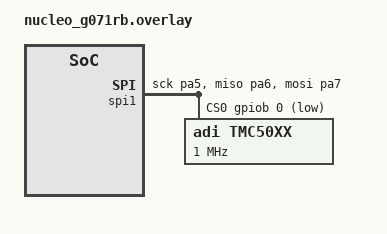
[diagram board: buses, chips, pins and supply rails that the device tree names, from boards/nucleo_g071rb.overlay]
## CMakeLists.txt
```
 # SPDX-FileCopyrightText: Copyright (c) 2025 Jilay Sandeep Pandya
 # SPDX-License-Identifier: Apache-2.0

cmake_minimum_required(VERSION 3.20.0)

find_package(Zephyr REQUIRED HINTS $ENV{ZEPHYR_BASE})
project(stepper_basic)

FILE(GLOB app_sources src/*.c)
target_sources(app PRIVATE ${app_sources})
```

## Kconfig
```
# SPDX-FileCopyrightText: Copyright (c) 2025 Jilay Sandeep Pandya
# SPDX-License-Identifier: Apache-2.0

mainmenu "TMC50XX sample application"

config STEPS_PER_REV
	int "Steps per revolution"
	default 200

config PING_PONG_N_REV
	int "Change direction every N revolutions"
	default 1

source "Kconfig.zephyr"
```

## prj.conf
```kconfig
CONFIG_STEPPER=y
CONFIG_LOG=y
```

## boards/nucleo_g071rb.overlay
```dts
/ {
	aliases {
		stepper = &tmc_stepper;
	};
};

&spi1 {
	pinctrl-0 = <&spi1_sck_pa5 &spi1_miso_pa6 &spi1_mosi_pa7>;
	pinctrl-names = "default";
	cs-gpios = <&gpiob 0 GPIO_ACTIVE_LOW>;
	status = "okay";
	tmc50xx: tmc50xx@0 {
		compatible = "adi,tmc50xx";
		reg = <0>;
		spi-max-frequency = <DT_FREQ_M(1)>; /* Maximum SPI bus frequency */

		#address-cells = <1>;
		#size-cells = <0>;

		clock-frequency = <DT_FREQ_M(10)>; /* Internal/External Clock frequency */

		tmc_stepper: tmc_stepper@0 {
			status = "okay";
			reg = <0>;

			/* common stepper controller settings */
			micro-step-res = <256>;

			/* ADI TMC stallguard settings specific to TMC5041 */
			activate-stallguard2;
			stallguard-velocity-check-interval-ms=<1000>;
			stallguard2-threshold=<30>;
			stallguard-threshold-velocity=<200000>;

			/* ADI TMC ramp generator as well as current settings */
			vstart = <1000>;
			vstop = <10>;
			a1 = <10000>;
			v1 = <50000>;
			d1 = <14000>;
			vmax = <900000>;
			amax = <50000>;
			dmax = <7000>;
			tzerowait = <100>;
			vhigh = <900000>;
			vcoolthrs = <900000>;
			ihold = <1>;
			irun = <10>;
			iholddelay = <1>;
		};
	};
};
```

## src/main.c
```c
/*
 * SPDX-FileCopyrightText: Copyright (c) 2025 Jilay Sandeep Pandya.
 * SPDX-License-Identifier: Apache-2.0
 */

#include <zephyr/device.h>
#include <zephyr/drivers/gpio.h>
#include <zephyr/drivers/stepper.h>
#include <zephyr/kernel.h>

const struct device *stepper = DEVICE_DT_GET(DT_ALIAS(stepper));

int32_t ping_pong_target_position = CONFIG_STEPS_PER_REV * CONFIG_PING_PONG_N_REV *
				    DT_PROP(DT_ALIAS(stepper), micro_step_res);

atomic_t is_position_reached = ATOMIC_INIT(0);

void stepper_callback(const struct device *dev, const enum stepper_event event, void *user_data)
{
	switch (event) {
	case STEPPER_EVENT_STEPS_COMPLETED:
		printf("%s steps completed changing direction\n", __func__);
		ping_pong_target_position *= -1;
		atomic_set(&is_position_reached, 1);
		break;
	default:
		break;
	}
}

int main(void)
{
	printf("Starting basic stepper sample\n");
	if (!device_is_ready(stepper)) {
		printf("Device %s is not ready\n", stepper->name);
		return -ENODEV;
	}
	printf("stepper is %p, name is %s\n", stepper, stepper->name);

	stepper_set_event_callback(stepper, stepper_callback, NULL);
	stepper_enable(stepper, true);
	stepper_set_reference_position(stepper, 0);
	stepper_move_by(stepper, ping_pong_target_position);

	for (;;) {
		if (atomic_get(&is_position_reached)) {
			atomic_clear(&is_position_reached);
			stepper_move_by(stepper, ping_pong_target_position);
		}
	}
	return 0;
}
```
